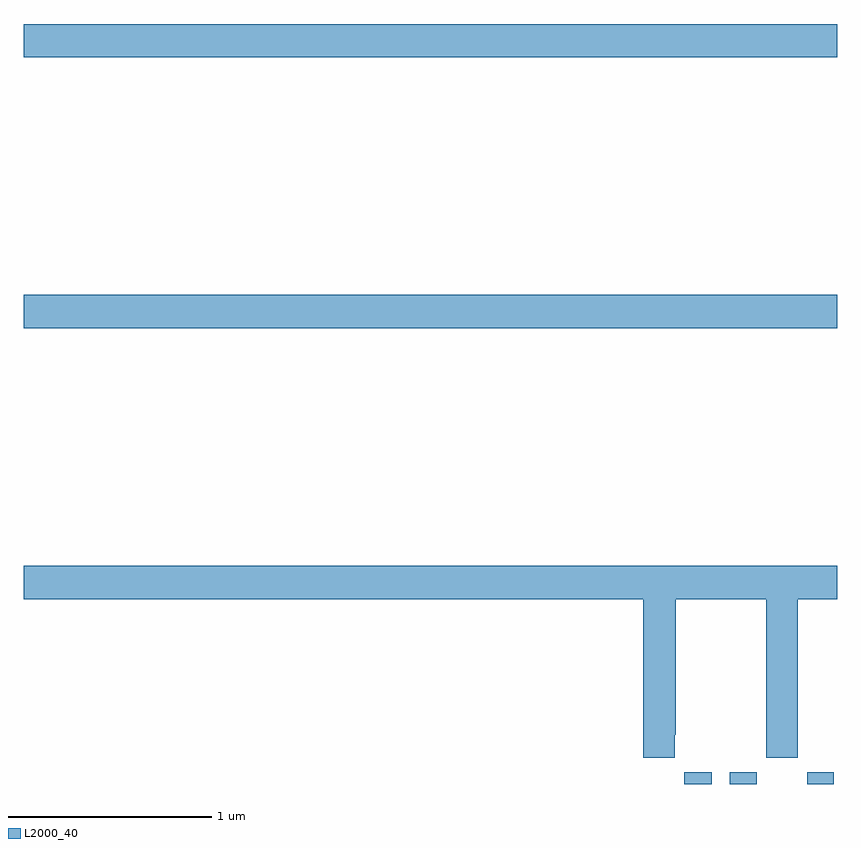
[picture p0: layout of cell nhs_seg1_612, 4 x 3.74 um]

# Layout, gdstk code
import gdstk
lib = gdstk.Library(unit=1e-6, precision=1e-09)
def R(c, l, rs):  # rectangles x0, y0, x1, y1
    for r in rs: c.add(gdstk.rectangle(r[:2], r[2:], *l))
def P(c, l, *ps):  # polygons
    for p in ps: c.add(gdstk.Polygon(p, *l))
L2000_40 = (2000, 40)

nhs_seg1_612 = lib.new_cell('nhs_seg1_612')
R(nhs_seg1_612, L2000_40, [(148.247,508.199,148.384,508.258), (148.472,508.199,148.603,508.258), (148.853,508.199,148.984,508.258), (145,510.44,149,510.604), (145,511.772,149,511.936)])
P(nhs_seg1_612, L2000_40, [(148.201,508.441),(148.206,508.441),(148.206,509.108),(148.651,509.108),(148.651,508.329),(148.806,508.329),(148.806,509.108),(149,509.108),(149,509.272),(145,509.272),(145,509.108),(148.046,509.108),(148.046,508.329),(148.201,508.329)])

lib.write_gds('nhs_seg1_612.gds')
